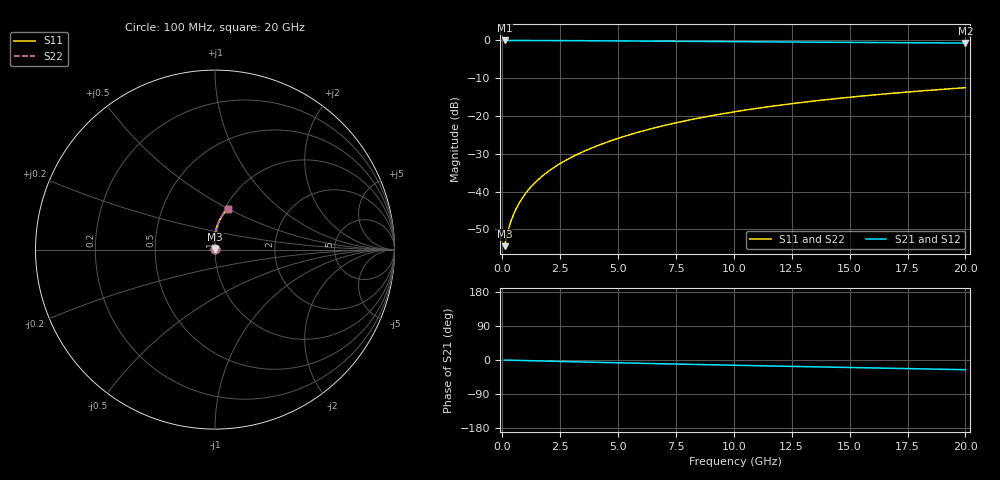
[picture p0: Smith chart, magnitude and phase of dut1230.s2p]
! Touchstone file exported from HFSS 2024.1.0
!  File:  C:/UserFiles/LocalFiles/RDL_TSV_Batchsim/temp_RDL_bottom_1230_1780244517.aedt
!  Generated:  12:24:34 AM Jun  1, 2026
!  Design:  RDL_bottom
!  Project:  temp_RDL_bottom_1230_1780244517
!  Setup:  Setup1
!  Solution:  Sweep
! Variables:
!  dtsv = 10.80580581um
!  hbump = 3um
!  htsv = 56.52um
!  ldown = 357.22um
!  lrdl = 100um
!  p = 40
!  p1 = 51.58um
!  rhole = 1um
!  t = 450um
!  tdown = 3.5um
!  trdl = 3.915915916um
!  wdown = 27.32um
!  wrdl = 20um
# GHz S MA R 50.000000
! Terminal data exported
! Port[1] = RDL1_T1
! Port[2] = RDL1_T2
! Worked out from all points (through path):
!   200 points, 100 MHz to 20 GHz, reference 50 ohm
!   highest |S21| = -0.01 dB at 100 MHz (marker M1); lowest = -0.7 dB at 20 GHz (marker M2)
!   group delay of S21, straight-line fit = 3.5 ps
!   lowest |S11| = -54.5 dB at 100 MHz (marker M3), VSWR 1.00, Z = 50.2 + j0.105 ohm
!   |S11| at or under -10 dB: start of sweep to end of sweep
!   |S22| runs from -54.5 to -12.5 dB; largest |S21 - S12| = 2.5e-15
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0.1  0.001891 33.8  0.9984 -0.2  0.9984 -0.2  0.001891 33.8
! Gamma 0 0 0 0
! Port Impedance 50 0 50 0
0.2  0.002631 50.7  0.9983 -0.3  0.9983 -0.3  0.002631 50.7
0.3  0.003439 59.4  0.9982 -0.5  0.9982 -0.5  0.003439 59.4
0.4  0.004257 65.0  0.998 -0.6  0.998 -0.6  0.004257 65.0
0.5  0.005083 68.9  0.9979 -0.8  0.9979 -0.8  0.005083 68.9
0.6  0.00592 72.0  0.9978 -0.9  0.9978 -0.9  0.00592 72.0
0.8  0.007628 76.4  0.9976 -1.3  0.9976 -1.3  0.007629 76.4
1.1  0.01027 80.6  0.9971 -1.7  0.9971 -1.7  0.01027 80.6
1.3  0.01206 82.5  0.9968 -2.0  0.9968 -2.0  0.01206 82.5
1.6  0.01482 84.7  0.9962 -2.5  0.9962 -2.5  0.01482 84.7
2.1  0.01955 87.2  0.9951 -3.2  0.9951 -3.2  0.01955 87.2
2.7  0.02546 89.1  0.9933 -4.1  0.9933 -4.1  0.02546 89.1
3.5  0.03376 90.6  0.9906 -5.3  0.9906 -5.3  0.03376 90.6
4.2  0.04141 91.3  0.9878 -6.3  0.9878 -6.3  0.04141 91.3
5  0.05055 91.6  0.9845 -7.4  0.9845 -7.4  0.05056 91.5
6.8  0.07236 90.8  0.9764 -9.9  0.9764 -9.9  0.07236 90.7
8.4  0.09264 89.1  0.9692 -11.9  0.9692 -11.9  0.09264 89.1
10.1  0.1146 86.9  0.9618 -14.0  0.9618 -14.0  0.1146 86.9
11.7  0.1352 84.6  0.9551 -15.9  0.9551 -15.9  0.1352 84.6
13.4  0.1569 82.2  0.9481 -18.0  0.9481 -18.0  0.1569 82.2
16.7  0.1978 77.4  0.9349 -21.8  0.9349 -21.8  0.1978 77.4
20  0.2367 72.8  0.9216 -25.6  0.9216 -25.6  0.2367 72.8
